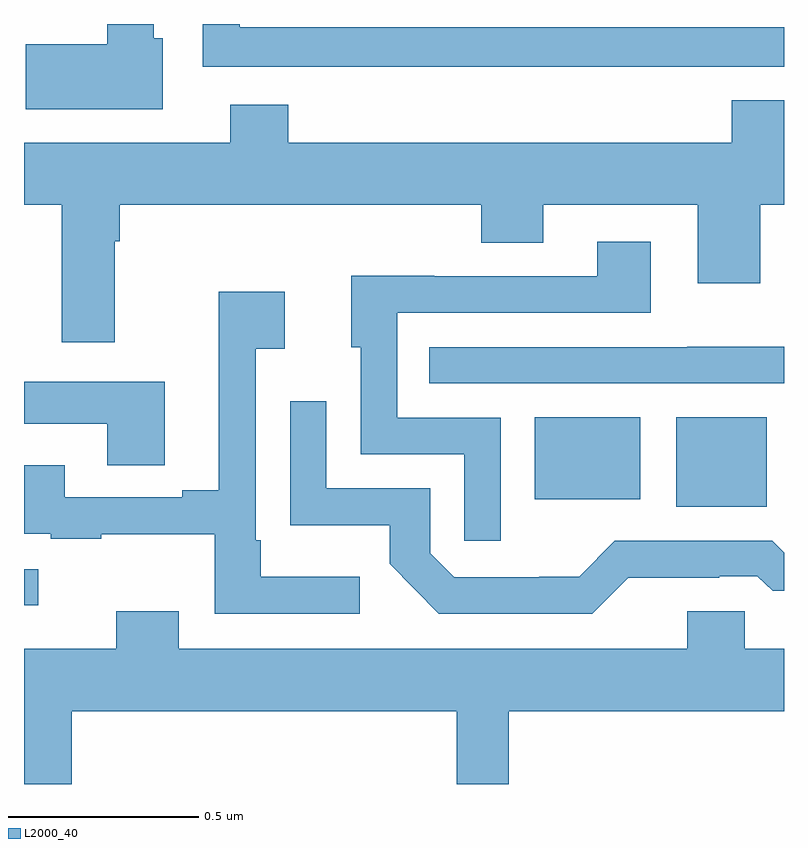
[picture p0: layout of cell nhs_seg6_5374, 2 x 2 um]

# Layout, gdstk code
import gdstk
lib = gdstk.Library(unit=1e-6, precision=1e-09)
def R(c, l, rs):  # rectangles x0, y0, x1, y1
    for r in rs: c.add(gdstk.rectangle(r[:2], r[2:], *l))
def P(c, l, *ps):  # polygons
    for p in ps: c.add(gdstk.Polygon(p, *l))
L2000_40 = (2000, 40)

nhs_seg6_5374 = lib.new_cell('nhs_seg6_5374')
R(nhs_seg6_5374, L2000_40, [(182,924.971,182.038,925.065), (183.716,925.229,183.955,925.465), (183.344,925.25,183.622,925.465)])
P(nhs_seg6_5374, L2000_40, [(182.365,926.463),(182.341,926.463),(182.341,926.5),(182.219,926.5),(182.219,926.447),(182.004,926.447),(182.004,926.276),(182.365,926.276)],
  [(184,926.491),(182.568,926.491),(182.568,926.5),(182.471,926.5),(182.471,926.387),(184,926.387)],
  [(183.203,925.925),(183.367,925.925),(183.367,926.024),(183.773,926.024),(183.773,925.818),(183.937,925.818),(183.937,926.024),(184,926.024),(184,926.299),(183.863,926.299),(183.863,926.188),(182.696,926.188),(182.696,926.287),(182.543,926.287),(182.543,926.188),(182,926.188),(182,926.024),(182.099,926.024),(182.099,925.662),(182.239,925.662),(182.239,925.928),(182.252,925.928),(182.252,926.024),(183.203,926.024)],
  [(183.255,925.464),(182.982,925.464),(182.982,925.74),(183.649,925.74),(183.649,925.927),(183.509,925.927),(183.509,925.836),(183.079,925.836),(183.079,925.838),(182.861,925.838),(182.861,925.65),(182.886,925.65),(182.886,925.368),(183.159,925.368),(183.159,925.14),(183.255,925.14)],
  [(182.884,925.045),(182.623,925.045),(182.623,925.141),(182.61,925.141),(182.61,925.646),(182.686,925.646),(182.686,925.795),(182.513,925.795),(182.513,925.273),(182.417,925.273),(182.417,925.254),(182.107,925.254),(182.107,925.339),(182,925.339),(182,925.158),(182.071,925.158),(182.071,925.146),(182.203,925.146),(182.203,925.157),(182.502,925.157),(182.502,924.948),(182.884,924.948)],
  [(184,925.651),(183.745,925.651),(183.745,925.65),(183.067,925.65),(183.067,925.554),(184,925.554)],
  [(182.371,925.558),(182,925.558),(182,925.448),(182.219,925.448),(182.219,925.339),(182.371,925.339)],
  [(183.59,925.043),(183.83,925.043),(183.83,925.047),(183.93,925.047),(183.97,925.008),(184,925.008),(184,925.109),(183.969,925.14),(183.555,925.14),(183.461,925.046),(183.356,925.046),(183.356,925.044),(183.132,925.044),(183.069,925.107),(183.069,925.278),(182.796,925.278),(182.796,925.507),(182.7,925.507),(182.7,925.181),(182.962,925.181),(182.962,925.079),(183.092,924.948),(183.495,924.948)],
  [(182.126,924.692),(183.139,924.692),(183.139,924.5),(183.275,924.5),(183.275,924.692),(184,924.692),(184,924.856),(183.897,924.856),(183.897,924.954),(183.746,924.954),(183.746,924.856),(182.407,924.856),(182.407,924.955),(182.243,924.955),(182.243,924.856),(182,924.856),(182,924.5),(182.126,924.5)])

lib.write_gds('nhs_seg6_5374.gds')
